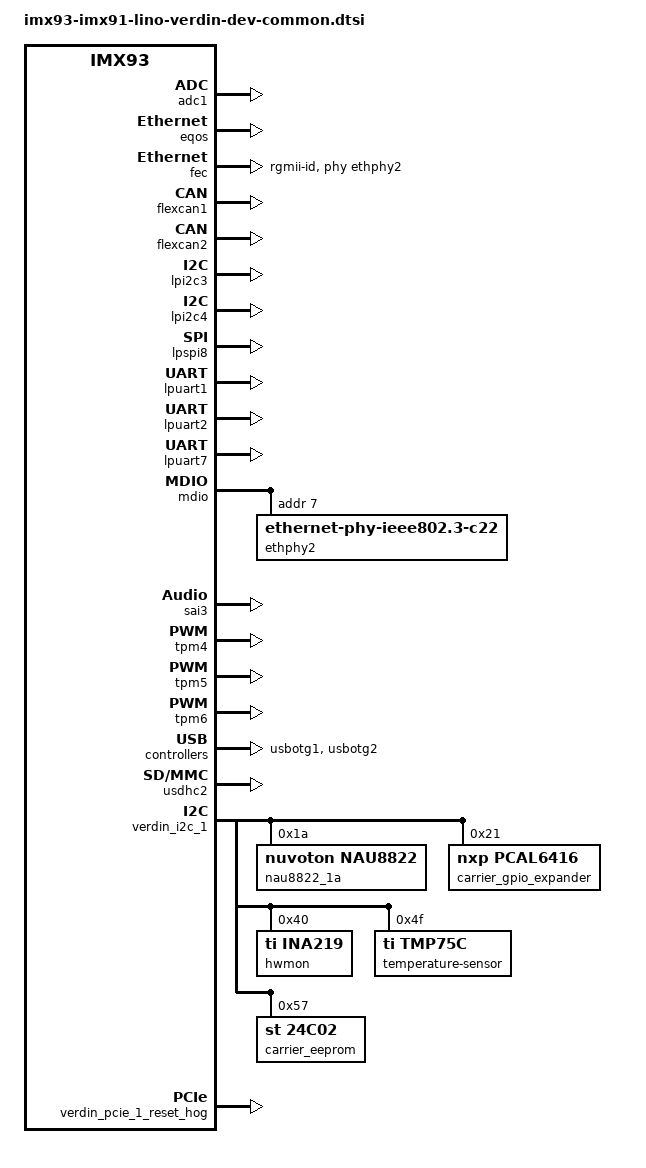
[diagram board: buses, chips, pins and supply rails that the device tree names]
// SPDX-License-Identifier: GPL-2.0-only OR MIT
/*
 * Copyright (c) Toradex
 *
 * Lino iMX93/iMX91 SoM on Lino-Verdin Adapter / Development carrier board
 *
 * https://www.toradex.com/computer-on-modules/lino-arm-family/nxp-imx91
 * https://www.toradex.com/computer-on-modules/lino-arm-family/nxp-imx93
 * https://www.toradex.com/products/carrier-board/verdin-development-board-kit
 */

/ {
	aliases {
		eeprom1 = &carrier_eeprom;
	};

	sound {
		compatible = "simple-audio-card";
		simple-audio-card,bitclock-master = <&codec_dai>;
		simple-audio-card,format = "i2s";
		simple-audio-card,frame-master = <&codec_dai>;
		simple-audio-card,mclk-fs = <256>;
		simple-audio-card,name = "verdin-nau8822";
		simple-audio-card,routing =
			"Headphones", "LHP",
			"Headphones", "RHP",
			"Speaker", "LSPK",
			"Speaker", "RSPK",
			"Line Out", "AUXOUT1",
			"Line Out", "AUXOUT2",
			"LAUX", "Line In",
			"RAUX", "Line In",
			"LMICP", "Mic In",
			"RMICP", "Mic In";
		simple-audio-card,widgets =
			"Headphones", "Headphones",
			"Line Out", "Line Out",
			"Speaker", "Speaker",
			"Microphone", "Mic In",
			"Line", "Line In";

		codec_dai: simple-audio-card,codec {
			sound-dai = <&nau8822_1a>;
		};

		simple-audio-card,cpu {
			sound-dai = <&sai3>;
		};
	};
};

/* Lino ADC_1, ADC_2, ADC_3 and ADC_4 */
&adc1 {
	status = "okay";
};

&gpio2 {
	pinctrl-names = "default";
	pinctrl-0 = <&pinctrl_gpio1>, <&pinctrl_gpio2>, <&pinctrl_gpio3>,
		    <&pinctrl_gpio4>, <&pinctrl_gpio5>;
};

&gpio3 {
	pinctrl-names = "default";
	pinctrl-0 = <&pinctrl_gpio6>, <&pinctrl_gpio7>;
};

&gpio4 {
	pinctrl-names = "default";
	pinctrl-0 = <&pinctrl_gpio8>, <&pinctrl_gpio9>, <&pinctrl_gpio10>;
};

/* Lino ETH_1 */
&eqos {
	status = "okay";
};

/* Lino ETH_2 */
&fec {
	phy-handle = <&ethphy2>;
	phy-mode = "rgmii-id";

	status = "okay";
};

/* Lino CAN_1 */
&flexcan1 {
	status = "okay";
};

/* Lino CAN_2 */
&flexcan2 {
	status = "okay";
};

/* Lino I2C_2 */
&lpi2c3 {
	status = "okay";
};

/* Lino I2C_3 */
&lpi2c4 {
	status = "okay";
};

/* Lino SPI_1 */
&lpspi8 {
	status = "okay";
};

/* Lino UART_3, used as the Linux Console */
&lpuart1 {
	status = "okay";
};

/* Lino UART_4 */
&lpuart2 {
	status = "okay";
};

/* Lino UART_2 */
&lpuart7 {
	status = "okay";
};

/* Lino Ethernet MDIO */
&mdio {
	ethphy2: ethernet-phy@7 {
		compatible = "ethernet-phy-ieee802.3-c22";
		reg = <7>;
		micrel,led-mode = <0>;
	};
};

/* Lino I2S_1 */
&sai3 {
	status = "okay";
};

/* Lino PWM_1 */
&tpm4 {
	status = "okay";
};

/* Lino PWM_2 */
&tpm5 {
	status = "okay";
};

/* Lino PWM_3 */
&tpm6 {
	status = "okay";
};

/* Lino USB_1 */
&usbotg1 {
	status = "okay";
};

/* Lino USB_2 */
&usbotg2 {
	status = "okay";
};

/* Lino SD_1 */
&usdhc2 {
	status = "okay";
};

/* Verdin CTRL_WAKE1_MICO# */
&verdin_gpio_keys {
	status = "okay";
};

/* Verdin I2C_1 */
&verdin_i2c_1 {
	status = "okay";

	nau8822_1a: audio-codec@1a {
		compatible = "nuvoton,nau8822";
		reg = <0x1a>;
		clock-names = "mclk";
		clocks = <&verdin_i2s1_mclk>;
		#sound-dai-cells = <0>;
	};

	carrier_gpio_expander: gpio@21 {
		compatible = "nxp,pcal6416";
		reg = <0x21>;
		#gpio-cells = <2>;
		gpio-controller;
	};

	/* Current measurement into module VCC */
	hwmon@40 {
		compatible = "ti,ina219";
		reg = <0x40>;
		shunt-resistor = <10000>;
	};

	temperature-sensor@4f {
		compatible = "ti,tmp75c";
		reg = <0x4f>;
	};

	carrier_eeprom: eeprom@57 {
		compatible = "st,24c02", "atmel,24c02";
		reg = <0x57>;
		pagesize = <16>;
	};
};

/* Verdin PCIE_1_RESET# */
&verdin_pcie_1_reset_hog {
	status = "okay";
};
